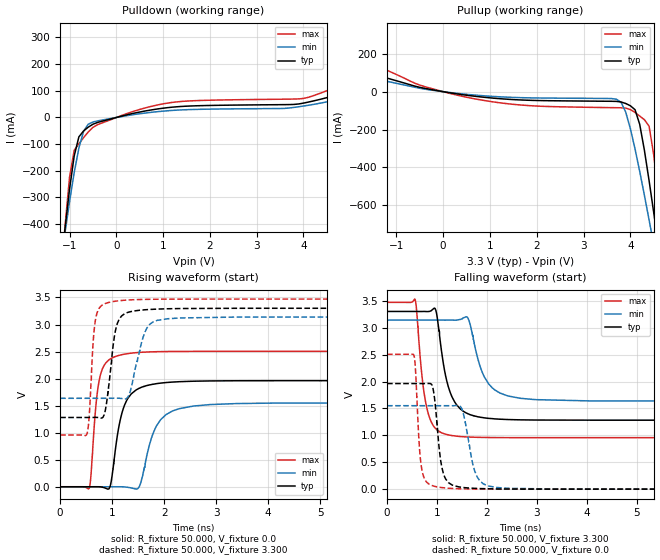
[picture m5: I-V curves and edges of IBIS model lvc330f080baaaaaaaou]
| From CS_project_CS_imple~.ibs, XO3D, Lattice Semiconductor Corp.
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[Model] lvc330f080baaaaaaaou
Model_type Output
Polarity   Non-Inverting
Enable   Active-High
Vmeas =  1.650V
Cref =  0.0F
Rref =  1.000M
Vref =  0.0V
C_comp   4.200pF   3.800pF   7.500pF
[Temperature Range]   25.000   0.105k   -40.000
[Voltage Range]   3.300V   3.140V   3.470V
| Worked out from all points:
|   slope of the pulldown table from 0 to 0.495 V, typ, clamps not added: 24.3 ohm
|   slope of the pullup table from 0 to 0.495 V, typ, clamps not added: 26.6 ohm
|   rising waveform, R_fixture 50.000, V_fixture 0.0: 20-80 % time 242ps typ, 323ps min, 146ps max; typ from 0.002 V to 1.96 V
|   rising waveform, R_fixture 50.000, V_fixture 3.300: 20-80 % time 155ps typ, 230ps min, 93.1ps max; typ from 1.28 V to 3.3 V
|   falling waveform, R_fixture 50.000, V_fixture 3.300: 20-80 % time 267ps typ, 327ps min, 187ps max; typ from 3.3 V to 1.28 V
|   falling waveform, R_fixture 50.000, V_fixture 0.0: 20-80 % time 135ps typ, 200ps min, 93.7ps max; typ from 1.96 V to 0.002 V
[Pulldown]
|Voltage   I(typ)   I(min)   I(max)
-3.3V     -4.507A    -3.482A    -6.263A
-1.1V     -423.4mA   -437.5mA   -416.7mA
-1V       -269.7mA   -316.9mA   -225.2mA
-900mV    -144.5mA   -206.8mA   -123.1mA
-800mV    -72.93mA   -115.2mA   -98.46mA
-700mV    -50.75mA   -52.06mA   -75.94mA
-500mV    -25.39mA   -17.08mA   -37.33mA
400mV     16.79mA    11.47mA    24.72mA
1.2V      38.66mA    26.45mA    56.57mA
4.1V      57.51mA    45.64mA    75.36mA
5.4V      125.7mA    96.54mA    179.1mA
6.6V      225.9mA    165.1mA    339.4mA
[Pullup]
|Voltage   I(typ)   I(min)   I(max)
-3.3V     216.1mA    162.8mA    336.4mA
200mV     -8.108mA   -6.066mA   -12.58mA
1.7V      -44.15mA   -31.81mA   -71.17mA
3.7V      -51.26mA   -39.86mA   -84.66mA
3.9V      -62.3mA    -107.4mA   -86.52mA
4.1V      -95.17mA   -302.3mA   -109.5mA
4.2V      -172.6mA   -421.2mA   -128.8mA
4.4V      -468.9mA   -676.6mA   -181.9mA
4.5V      -639.3mA   -809mA     -333.7mA
4.6V      -815.4mA   -943.4mA   -557.7mA
4.7V      -994.9mA   -1.079A    -803mA
6.6V      -4.562A    -3.748A    -5.893A
[Ramp]
| variable   typ   min   max
dV/dt_r   1.176/0.241n   0.930/0.324n   1.501/0.146n
dV/dt_f   1.211/0.270n   0.902/0.331n   1.507/0.188n
R_load = 50.000
[Rising Waveform]
R_fixture= 50.000
V_fixture= 0.0
V_fixture_min= 0.0
V_fixture_max= 0.0
|time   V(typ)   V(min)   V(max)
0s        2.128mV    1.725mV    2.736mV
561ps     2.168mV    1.719mV    -23.14mV
733ps     2.356mV    1.719mV    1.866V
939ps     -37.16mV   1.789mV    2.346V
1.158ns   1.245V     1.975mV    2.434V
1.369ns   1.719V     -19.92mV   2.471V
1.531ns   1.825V     22.59mV    2.484V
1.933ns   1.917V     1.24V      2.499V
2.566ns   1.952V     1.494V     2.503V
20ns      1.962V     1.551V     2.504V
[Rising Waveform]
R_fixture= 50.000
V_fixture= 3.300
V_fixture_min= 3.140
V_fixture_max= 3.470
|time   V(typ)   V(min)   V(max)
0s        1.282V     1.637V     957.6mV
517ps     1.282V     1.637V     981.4mV
558ps     1.282V     1.637V     1.291V
664ps     1.283V     1.637V     2.983V
823ps     1.285V     1.637V     3.367V
1.063ns   2.883V     1.638V     3.431V
1.322ns   3.229V     1.692V     3.454V
1.67ns    3.274V     2.936V     3.465V
2.068ns   3.291V     3.106V     3.468V
20ns      3.3V       3.14V      3.47V
[Falling Waveform]
R_fixture= 50.000
V_fixture= 3.300
V_fixture_min= 3.140
V_fixture_max= 3.470
|time   V(typ)   V(min)   V(max)
0s        3.3V       3.14V      3.47V
563ps     3.3V       3.14V      3.52V
750ps     3.3V       3.14V      1.737V
961ps     3.356V     3.14V      1.136V
1.296ns   1.723V     3.14V      996.7mV
1.619ns   1.4V       3.176V     970.8mV
1.882ns   1.334V     2.227V     962.8mV
2.102ns   1.311V     1.885V     959.8mV
2.966ns   1.285V     1.664V     957.8mV
20ns      1.282V     1.637V     957.6mV
[Falling Waveform]
R_fixture= 50.000
V_fixture= 0.0
V_fixture_min= 0.0
V_fixture_max= 0.0
|time   V(typ)   V(min)   V(max)
0s        1.962V     1.551V     2.504V
539ps     1.962V     1.551V     2.483V
696ps     1.962V     1.551V     369.2mV
917ps     1.883V     1.551V     62.8mV
1.048ns   717.9mV    1.551V     36.47mV
1.175ns   187.3mV    1.551V     22.95mV
1.469ns   39.7mV     1.537V     9.576mV
1.807ns   15.04mV    221.9mV    4.744mV
2.188ns   6.358mV    33.13mV    3.208mV
20ns      2.128mV    1.725mV    2.736mV
